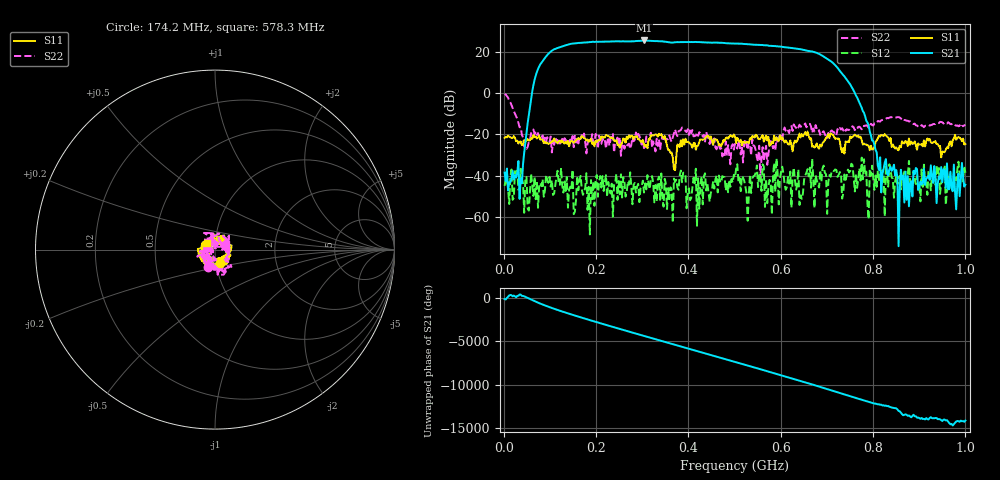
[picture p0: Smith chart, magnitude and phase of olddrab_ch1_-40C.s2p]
!Keysight Technologies N9923A: A.12.45
!Date: Friday, 31 October 2025 23:35:28
!Timezone: (UTC+08:00) Kuala Lumpur, Singapore
!Model: N9923A
!Serial: MY61181427
!GPS Latitude:
!GPS Longitude:
!GPS TimeStamp: 0001-01-01 00:00:00Z
!GPS Seconds Since Last Read: 0
!CHECKSUM:1375233366
!Correction: S11(ON U?)S21(ON U?)S12(ON U?)S22(ON U?)
!S2P File: Measurements:S11,S21,S12,S22:
# Hz S DB R 50
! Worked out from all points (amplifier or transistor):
!   401 points, 2 MHz to 1 GHz, reference 50 ohm
!   highest |S21| = 25.7 dB at 303.9 MHz (marker M1)
!   |S21| within 3 dB of that: 125.6 MHz to 599.9 MHz (474.3 MHz wide, 131 % of centre)
!   unconditionally stable (mu >= 1): start of sweep to end of sweep
!   at 166.7 MHz: K = 3.06, MAG = 24.6 dB, |S12| = -40.1 dB
!   at 501 MHz: K = 3.42, MAG = 24.3 dB, |S12| = -40.8 dB
!   at 1 GHz: K = 6870.52, MAG = -44.3 dB, |S12| = -38.6 dB
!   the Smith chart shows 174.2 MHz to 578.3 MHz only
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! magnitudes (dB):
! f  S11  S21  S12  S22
! 2 MHz  -21.7  -38.5  -45.0  -0.3
! 39.42 MHz  -25.2  -43.8  -41.8  -20.2
! 61.88 MHz  -22.1  0.9  -44.5  -18.7
! 79.34 MHz  -22.5  14.1  -43.5  -21.3
! 169.2 MHz  -20.8  24.6  -46.7  -20.3
! 303.9 MHz  -24.8  25.7  -48.2  -26.6
! 336.3 MHz  -19.7  25.3  -40.5  -22.5
! 368.8 MHz  -36.9  24.8  -41.4  -19.5
! 388.7 MHz  -22.3  24.9  -38.6  -16.9
! 401.2 MHz  -23.9  25.0  -46.2  -20.3
! 501 MHz  -20.9  24.2  -40.8  -24.6
! 526 MHz  -23.6  23.9  -48.7  -25.1
! 543.4 MHz  -21.5  23.6  -40.0  -25.7
! 575.9 MHz  -25.4  23.1  -42.1  -25.0
! 588.3 MHz  -22.8  23.0  -47.9  -27.7
! 645.7 MHz  -19.8  21.3  -51.3  -15.9
! 668.2 MHz  -26.0  20.4  -31.8  -19.2
! 750.5 MHz  -21.0  4.4  -37.8  -16.6
! 815.4 MHz  -21.1  -31.1  -39.4  -13.7
! 835.3 MHz  -23.2  -37.0  -34.5  -11.9
! 857.8 MHz  -25.5  -46.2  -40.1  -11.8
! 1 GHz  -24.7  -44.4  -38.6  -15.3
